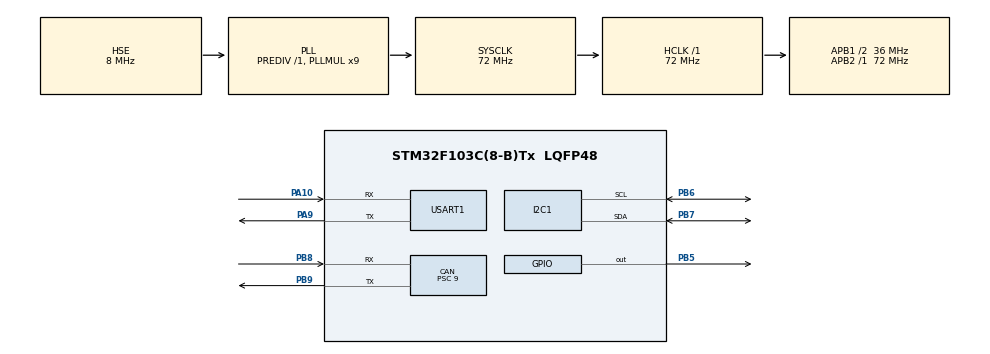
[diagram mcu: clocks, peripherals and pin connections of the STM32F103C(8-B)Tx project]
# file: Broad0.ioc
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CAN.ABOM=ENABLE
CAN.BS1=CAN_BS1_5TQ
CAN.BS2=CAN_BS2_2TQ
CAN.CalculateBaudRate=500000
CAN.CalculateTimeBit=2000
CAN.CalculateTimeQuantum=250.0
CAN.NART=ENABLE
CAN.Prescaler=9
CAN.TXFP=ENABLE
I2C1.I2C_Mode=I2C_Fast
Mcu.Family=STM32F1
Mcu.Name=STM32F103C(8-B)Tx
Mcu.Package=LQFP48
NVIC.I2C1_EV_IRQn=true\:2\:0\:true\:false\:true\:true\:true\:true
NVIC.PriorityGroup=NVIC_PRIORITYGROUP_4
NVIC.TIM1_UP_IRQn=true\:0\:0\:false\:false\:true\:true\:true\:true
NVIC.TIM2_IRQn=true\:1\:0\:true\:false\:true\:true\:true\:true
NVIC.USART1_IRQn=true\:3\:0\:true\:false\:true\:true\:true\:true
PA10.Mode=Asynchronous
PA10.Signal=USART1_RX
PA13.Mode=Serial_Wire
PA13.Signal=SYS_JTMS-SWDIO
PA14.Mode=Serial_Wire
PA14.Signal=SYS_JTCK-SWCLK
PA9.Mode=Asynchronous
PA9.Signal=USART1_TX
PB5.GPIO_Speed=GPIO_SPEED_FREQ_HIGH
PB5.Signal=GPIO_Output
PB6.Mode=I2C
PB6.Signal=I2C1_SCL
PB7.Mode=I2C
PB7.Signal=I2C1_SDA
PB8.Mode=CAN_Activate
PB8.Signal=CAN_RX
PB9.Mode=CAN_Activate
PB9.Signal=CAN_TX
PD0-OSC_IN.Mode=HSE-External-Oscillator
PD0-OSC_IN.Signal=RCC_OSC_IN
PD1-OSC_OUT.Mode=HSE-External-Oscillator
PD1-OSC_OUT.Signal=RCC_OSC_OUT
ProjectManager.HeapSize=0x200
ProjectManager.StackSize=0x400
ProjectManager.TargetToolchain=MDK-ARM V5.32
RCC.AHBFreq_Value=72000000
RCC.APB1CLKDivider=RCC_HCLK_DIV2
RCC.APB1Freq_Value=36000000
RCC.APB1TimFreq_Value=72000000
RCC.APB2Freq_Value=72000000
RCC.APB2TimFreq_Value=72000000
RCC.HCLKFreq_Value=72000000
RCC.PLLMUL=RCC_PLL_MUL9
RCC.PLLSourceVirtual=RCC_PLLSOURCE_HSE
RCC.SYSCLKFreq_VALUE=72000000
RCC.SYSCLKSource=RCC_SYSCLKSOURCE_PLLCLK
RCC.USBFreq_Value=72000000
TIM1.AutoReloadPreload=TIM_AUTORELOAD_PRELOAD_ENABLE
TIM1.Period=100-1
TIM1.Prescaler=7200-1
TIM2.Period=1000-1
TIM2.Prescaler=7200-1
USART1.VirtualMode=VM_ASYNC
VP_TIM1_VS_ClockSourceINT.Mode=Internal
VP_TIM2_VS_ClockSourceINT.Mode=Internal
board=custom

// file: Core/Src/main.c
/* USER CODE BEGIN Header */
/**
  ******************************************************************************
  * @file           : main.c
  * @brief          : Main program body
  ******************************************************************************
  * @attention
  *
  * Copyright (c) 2026 STMicroelectronics.
  * All rights reserved.
  *
  * This software is licensed under terms that can be found in the LICENSE file
  * in the root directory of this software component.
  * If no LICENSE file comes with this software, it is provided AS-IS.
  *
  ******************************************************************************
  */
/* USER CODE END Header */
#include "main.h"
#include "can.h"
#include "i2c.h"
#include "tim.h"
#include "usart.h"
#include "gpio.h"

/* USER CODE BEGIN Includes */
#include "MPU6050.h"
#include "OLED.h"
/* USER CODE END Includes */

/* USER CODE BEGIN PD */
#define DT 0.01f
#define GYRO_SCALE  131.0f
/* USER CODE END PD */

/* USER CODE BEGIN PV */
uint8_t uart_rx_data=0x00;

uint8_t i2c_rx_data[2]={0};
int16_t origin;
volatile float angle_x=0.0f;
volatile float gyro_x_dps=0;
volatile float speed=0;

uint8_t can_tx_data[3];

volatile int32_t x_pos=64;
volatile int32_t y_pos=32;

volatile uint8_t can_tx_ready=0;

/* USER CODE END PV */

void SystemClock_Config(void);

int main(void)
{

  /* MCU Configuration--------------------------------------------------------*/

  /* Reset of all peripherals, Initializes the Flash interface and the Systick. */
  HAL_Init();

  /* USER CODE BEGIN Init */
  OLED_Init();
  /* USER CODE END Init */

  /* Configure the system clock */
  SystemClock_Config();

  /* Initialize all configured peripherals */
  MX_GPIO_Init();
  MX_CAN_Init();
  MX_USART1_UART_Init();
  MX_TIM1_Init();
  MX_I2C1_Init();
  MX_TIM2_Init();
  /* USER CODE BEGIN 2 */
  MPU6050_Init();
  HAL_UART_Receive_IT(&huart1,&uart_rx_data,1);
  HAL_TIM_Base_Start_IT(&htim1);
  HAL_TIM_Base_Start_IT(&htim2);
  /* USER CODE END 2 */

  /* Infinite loop */
  while (1)
  {

    /* USER CODE BEGIN 3 */
	if(uart_rx_data!=0)
	{
		OLED_ShowString(1,1,"angle:");
		OLED_ShowSignedNum(1,7,speed,5);
		OLED_ShowString(2,1,"uart_rx:");
		OLED_ShowChar(2,9,(char)uart_rx_data);
		OLED_ShowNum(3,1,x_pos,5);
		OLED_ShowNum(4,1,y_pos,5);

		if(can_tx_ready==1)
		{
			CAN_TxHeaderTypeDef t={0};
			t.StdId=0X001;
			t.RTR=CAN_RTR_DATA;
			t.IDE=CAN_ID_STD;
			t.DLC=3;
			t.TransmitGlobalTime=DISABLE;
			uint32_t txmailbox;

			can_tx_data[0]=uart_rx_data;
			can_tx_data[1]=(uint8_t)x_pos;
			can_tx_data[2]=(uint8_t)y_pos;

			HAL_CAN_AddTxMessage(&hcan,&t,can_tx_data,&txmailbox);

			can_tx_ready=0;
		}
	}
  }
  /* USER CODE END 3 */
}

void SystemClock_Config(void)
{
  RCC_OscInitTypeDef RCC_OscInitStruct = {0};
  RCC_ClkInitTypeDef RCC_ClkInitStruct = {0};

  /** Initializes the RCC Oscillators according to the specified parameters
  * in the RCC_OscInitTypeDef structure.
  */
  RCC_OscInitStruct.OscillatorType = RCC_OSCILLATORTYPE_HSE;
  RCC_OscInitStruct.HSEState = RCC_HSE_ON;
  RCC_OscInitStruct.HSEPredivValue = RCC_HSE_PREDIV_DIV1;
  RCC_OscInitStruct.HSIState = RCC_HSI_ON;
  RCC_OscInitStruct.PLL.PLLState = RCC_PLL_ON;
  RCC_OscInitStruct.PLL.PLLSource = RCC_PLLSOURCE_HSE;
  RCC_OscInitStruct.PLL.PLLMUL = RCC_PLL_MUL9;
  if (HAL_RCC_OscConfig(&RCC_OscInitStruct) != HAL_OK)
  {
    Error_Handler();
  }

  /** Initializes the CPU, AHB and APB buses clocks
  */
  RCC_ClkInitStruct.ClockType = RCC_CLOCKTYPE_HCLK|RCC_CLOCKTYPE_SYSCLK
                              |RCC_CLOCKTYPE_PCLK1|RCC_CLOCKTYPE_PCLK2;
  RCC_ClkInitStruct.SYSCLKSource = RCC_SYSCLKSOURCE_PLLCLK;
  RCC_ClkInitStruct.AHBCLKDivider = RCC_SYSCLK_DIV1;
  RCC_ClkInitStruct.APB1CLKDivider = RCC_HCLK_DIV2;
  RCC_ClkInitStruct.APB2CLKDivider = RCC_HCLK_DIV1;

  if (HAL_RCC_ClockConfig(&RCC_ClkInitStruct, FLASH_LATENCY_2) != HAL_OK)
  {
    Error_Handler();
  }
}

/* USER CODE BEGIN 4 */
void HAL_UART_RxCpltCallback(UART_HandleTypeDef *huart)
{
	if(huart->Instance==USART1)
	{
		HAL_UART_Receive_IT(&huart1,&uart_rx_data,1);
	}
}
void HAL_TIM_PeriodElapsedCallback(TIM_HandleTypeDef *htim)
{
	if(htim->Instance == TIM1)
	{
		HAL_I2C_Mem_Read(&hi2c1,MPU6050_ADDRESS,MPU6050_GYRO_XOUT_H,I2C_MEMADD_SIZE_8BIT,i2c_rx_data,2,100);
		origin  = (i2c_rx_data[0]<<8);
		origin |= (i2c_rx_data[1]);
		gyro_x_dps = origin / GYRO_SCALE;
		angle_x += gyro_x_dps * DT;
		speed = angle_x ;

	}
	if(htim->Instance == TIM2)
	{
		switch (uart_rx_data)
		{
			case('W'):
			{
				y_pos=y_pos-((int32_t)(speed*0.1f));
				if(y_pos>63)
				{
					y_pos=0;
				}
				if(y_pos<0)
				{
					y_pos=63;
				}
				break;
			}
			case('S'):
			{
				y_pos=y_pos+((int32_t)(speed*0.1f));
				if(y_pos>63)
				{
					y_pos=0;
				}
				if(y_pos<0)
				{
					y_pos=63;
				}
				break;
			}
			case('A'):
			{
				x_pos=x_pos-((int32_t)(speed*0.1f));
				if(x_pos>127)
				{
					x_pos=0;
				}
				if(x_pos<0)
				{
					x_pos=127;
				}
				break;
			}
			case('D'):
			{
				x_pos=x_pos+((int32_t)(speed*0.1f));
				if(x_pos>127)
				{
					x_pos=0;
				}
				if(x_pos<0)
				{
					x_pos=127;
				}
				break;
			}
			default:
			{
				break;
			}
		}
		if(uart_rx_data == 'W' || uart_rx_data == 'A' || uart_rx_data == 'S' || uart_rx_data == 'D')
		{
			can_tx_ready=1;
		}
	}
}
/* USER CODE END 4 */

void Error_Handler(void)
{
  /* USER CODE BEGIN Error_Handler_Debug */
  /* User can add his own implementation to report the HAL error return state */
  __disable_irq();
  while (1)
  {
	  for (volatile uint32_t i = 0; i < 1000000; i++);
	  HAL_GPIO_TogglePin(GPIOB,GPIO_PIN_5);
  }
  /* USER CODE END Error_Handler_Debug */
}
